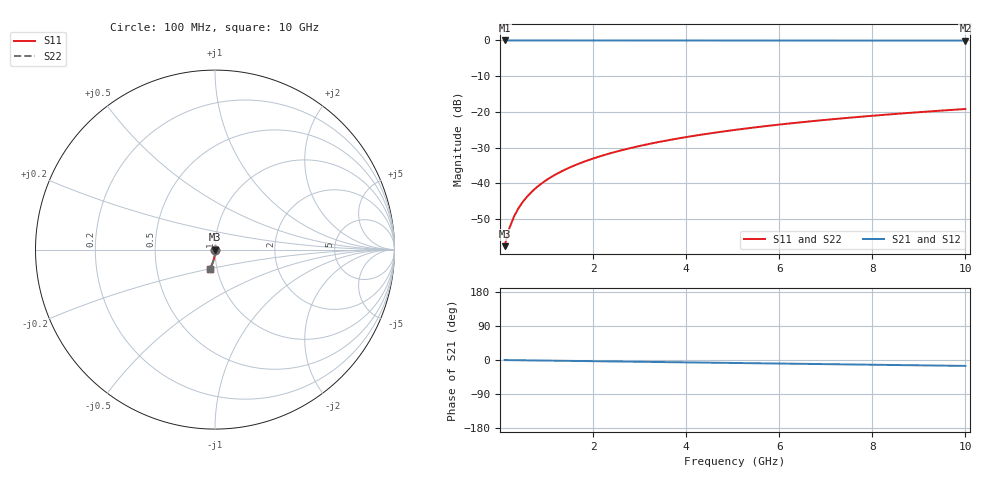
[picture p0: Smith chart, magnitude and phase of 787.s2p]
# Hz S RI R 50.00
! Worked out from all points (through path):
!   100 points, 100 MHz to 10 GHz, reference 50 ohm
!   highest |S21| = -0.01 dB at 100 MHz (marker M1); lowest = -0.1 dB at 10 GHz (marker M2)
!   group delay of S21, straight-line fit = 4.33 ps
!   lowest |S11| = -57.6 dB at 100 MHz (marker M3), VSWR 1.00, Z = 50.1 - j0.111 ohm
!   |S11| at or under -10 dB: start of sweep to end of sweep
!   |S22| runs from -57.6 to -19.2 dB; largest |S21 - S12| = 0
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1e8  0.000707 -0.00111  0.9993 -0.00272  0.9993 -0.00272  0.000707 -0.00111
2e8  0.000701 -0.00222  0.9993 -0.00544  0.9993 -0.00544  0.000701 -0.00222
3e8  0.000688 -0.00333  0.9992 -0.00816  0.9992 -0.00816  0.000688 -0.00333
4e8  0.000668 -0.00445  0.9992 -0.0109  0.9992 -0.0109  0.000668 -0.00445
5e8  0.000641 -0.00556  0.9992 -0.0136  0.9992 -0.0136  0.000641 -0.00556
6e8  0.000608 -0.00667  0.9991 -0.0163  0.9991 -0.0163  0.000608 -0.00667
7e8  0.000569 -0.00778  0.999 -0.019  0.999 -0.019  0.000569 -0.00778
8e8  0.000524 -0.00889  0.999 -0.0218  0.999 -0.0218  0.000524 -0.00889
9e8  0.000473 -0.01  0.9989 -0.0245  0.9989 -0.0245  0.000473 -0.01
1.1e9  0.000351 -0.0122  0.9987 -0.0299  0.9987 -0.0299  0.000351 -0.0122
1.4e9  0.000124 -0.0155  0.9984 -0.0381  0.9984 -0.0381  0.000124 -0.0155
1.8e9  -0.000265 -0.02  0.9978 -0.0489  0.9978 -0.0489  -0.000265 -0.02
2.1e9  -0.00062 -0.0233  0.9973 -0.0571  0.9973 -0.0571  -0.00062 -0.0233
2.5e9  -0.00118 -0.0277  0.9965 -0.0679  0.9965 -0.0679  -0.00118 -0.0277
2.9e9  -0.00183 -0.0321  0.9956 -0.0788  0.9956 -0.0788  -0.00183 -0.0321
3.4e9  -0.00278 -0.0376  0.9942 -0.0923  0.9942 -0.0923  -0.00278 -0.0376
4.2e9  -0.00462 -0.0463  0.9915 -0.1139  0.9915 -0.1139  -0.00462 -0.0463
5.1e9  -0.00713 -0.056  0.9879 -0.138  0.9879 -0.138  -0.00713 -0.056
5.9e9  -0.00976 -0.0645  0.9841 -0.1594  0.9841 -0.1594  -0.00976 -0.0645
6.7e9  -0.0128 -0.0729  0.9798 -0.1807  0.9798 -0.1807  -0.0128 -0.0729
8.4e9  -0.0203 -0.0902  0.9689 -0.2254  0.9689 -0.2254  -0.0203 -0.0902
1e10  -0.0288 -0.1058  0.9564 -0.2668  0.9564 -0.2668  -0.0288 -0.1058
